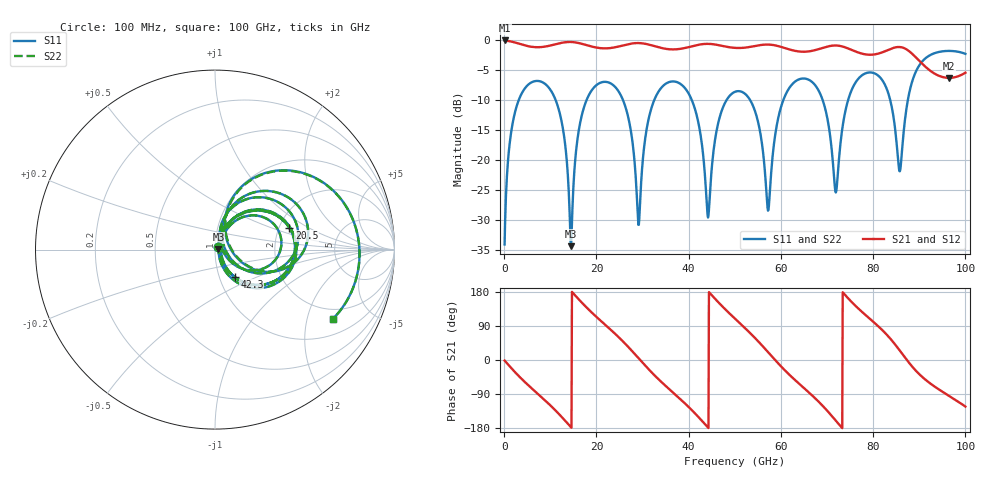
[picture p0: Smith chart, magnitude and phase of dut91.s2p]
! Touchstone file exported from HFSS 2026.1.0
!  File:  C:/ffzhzh/LocalFiles/Ansys_Project_Files/temp_train_TSV_RDL_91_1783631279_29156.aedt
!  Generated:  05:23:43 AM Jul 10, 2026
!  Design:  TSV_RDL
!  Project:  temp_train_TSV_RDL_91_1783631279_29156
! Variables:
!  h_bsmrdl = 3.56um
!  h_ox = 20um
!  h_rdl = 5um
!  h_sub = 50.76um
!  h_tmrdl = 4.23um
!  h_tsv = 50.76um
!  h_via = 3um
!  l_bsmrdl = 698.4um
!  l_sub = 4432.97um
!  l_tmrdl = 444.79um
!  m_sub = 200um
!  pitch = 47.86um
!  r_tsv = 9.62um
!  s_tmrdl = 10um
!  w_bsmrdl = 27.05um
!  w_sub = 500um
!  w_tmrdl = 25.82um
!  x_tsv_center1 = 457.7um
!  x_tsv_center2 = 1183.15um
!  x_tsv_center3 = 1653.76um
!  x_tsv_center4 = 2379.21um
!  x_tsv_center5 = 2849.82um
!  x_tsv_center6 = 3575.27um
# GHz S MA R 50.000000
! Terminal data exported
! Port[1] = TM_RDL1_1_T1
! Port[2] = TM_RDL5_1_T1
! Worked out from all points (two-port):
!   1000 points, 100 MHz to 100 GHz, reference 50 ohm
!   highest |S21| = -0.13 dB at 100 MHz (marker M1); lowest = -6.4 dB at 96.5 GHz (marker M2)
!   |S21| within 3 dB of the highest: start of sweep to 89.5 GHz
!   lowest |S11| = -34.4 dB at 14.5 GHz (marker M3), VSWR 1.04, Z = 51.9 + j0.209 ohm
!   |S11| at or under -10 dB: 25.74 GHz to 32.57 GHz (6.831 GHz wide, 23.4 % of centre); 40.66 GHz to 48.26 GHz (7.607 GHz wide, 17.1 % of centre); 53.29 GHz to 60.55 GHz (7.264 GHz wide, 12.8 % of centre) (the widest 3 of 7)
!   |S22| runs from -34.3 to -1.9 dB; largest |S21 - S12| = 4.8e-13
!   S11 on the Smith chart (normalised r, x): 100 MHz: 1.03, +0.03; 20.5 GHz: 2.28, +0.67; 42.3 GHz: 1.18, -0.37; 100 GHz: 1.59, -2.91
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0.1  0.01978 39.7  0.985 -1.5  0.985 -1.5  0.01978 39.7
! Gamma 0 0 0 0
! Port Impedance 50 0 50 0
2.2  0.2355 54.8  0.9507 -30.0  0.9507 -30.0  0.2355 54.9
6.9  0.4533 2.9  0.866 -84.9  0.866 -84.9  0.4533 2.9
12  0.2492 -52.5  0.9332 -144.1  0.9332 -144.1  0.2493 -52.4
14.5  0.01915 6.0  0.9563 -177.5  0.9563 -177.5  0.01931 5.9
16.8  0.232 56.0  0.9247 151.9  0.9247 151.9  0.232 56.0
20.5  0.4315 16.2  0.8537 108.3  0.8537 108.3  0.4315 16.2
26.2  0.2832 -43.4  0.9041 43.6  0.9041 43.6  0.2833 -43.5
29.1  0.02883 -6.8  0.9371 5.2  0.9371 5.2  0.02868 -7.0
33.4  0.3663 36.1  0.866 -50.0  0.866 -50.0  0.3663 36.2
42.3  0.1871 -54.4  0.9094 -152.8  0.9094 -152.8  0.1871 -54.3
44.2  0.03316 0.8  0.9229 -178.1  0.9229 -178.1  0.03318 0.9
50.1  0.369 16.7  0.8541 108.5  0.8541 108.5  0.369 16.8
58.2  0.107 75.6  0.9041 7.4  0.9041 7.4  0.1076 75.0
66.7  0.4468 -1.2  0.8068 -92.7  0.8068 -92.7  0.4469 -1.2
71.8  0.05522 6.0  0.8944 -158.5  0.8944 -158.5  0.05552 6.0
73.4  0.1918 72.4  0.876 178.8  0.876 178.8  0.1919 72.3
83.4  0.3467 -20.8  0.8264 60.8  0.8264 60.8  0.3473 -20.4
85.8  0.08038 27.2  0.8683 24.5  0.8683 24.5  0.08425 27.0
89.2  0.5357 54.3  0.716 -27.5  0.716 -27.5  0.5362 53.9
96.5  0.8063 -5.1  0.4811 -94.9  0.4811 -94.9  0.8064 -5.3
100  0.7621 -30.3  0.5311 -122.9  0.5311 -122.9  0.7622 -30.4
